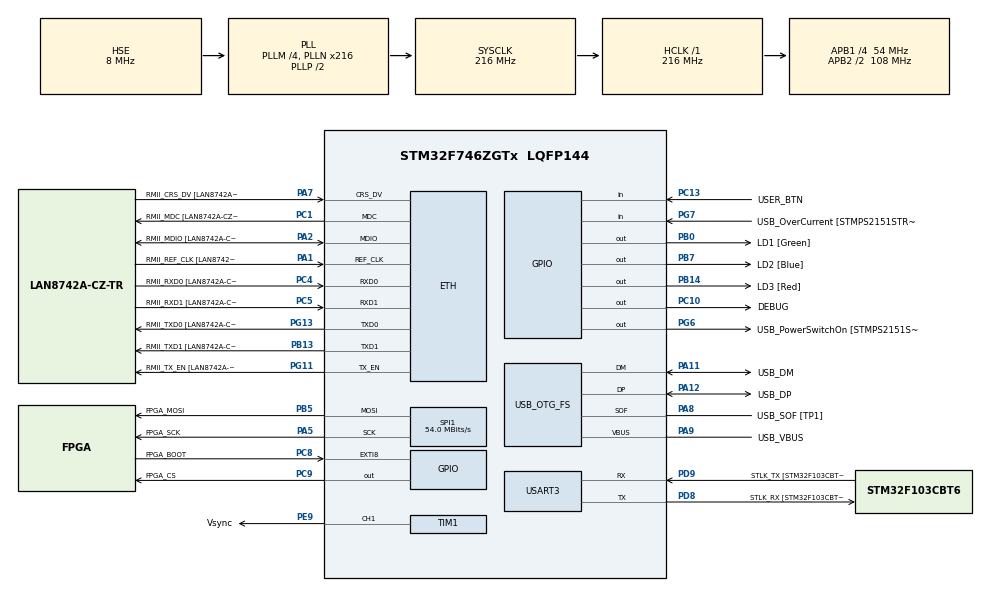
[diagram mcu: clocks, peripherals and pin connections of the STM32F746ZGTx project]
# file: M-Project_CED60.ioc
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CORTEX_M7.default_mode_Activation=0
Dma.Request0=USART3_TX
Dma.Request1=USART3_RX
Dma.Request2=SPI1_TX
Dma.SPI1_TX.2.Direction=DMA_MEMORY_TO_PERIPH
Dma.SPI1_TX.2.FIFOMode=DMA_FIFOMODE_DISABLE
Dma.SPI1_TX.2.Instance=DMA2_Stream3
Dma.SPI1_TX.2.MemDataAlignment=DMA_MDATAALIGN_HALFWORD
Dma.SPI1_TX.2.MemInc=DMA_MINC_ENABLE
Dma.SPI1_TX.2.Mode=DMA_NORMAL
Dma.SPI1_TX.2.PeriphDataAlignment=DMA_PDATAALIGN_HALFWORD
Dma.SPI1_TX.2.PeriphInc=DMA_PINC_DISABLE
Dma.SPI1_TX.2.Priority=DMA_PRIORITY_VERY_HIGH
Dma.USART3_RX.1.Direction=DMA_PERIPH_TO_MEMORY
Dma.USART3_RX.1.FIFOMode=DMA_FIFOMODE_DISABLE
Dma.USART3_RX.1.Instance=DMA1_Stream1
Dma.USART3_RX.1.MemDataAlignment=DMA_MDATAALIGN_BYTE
Dma.USART3_RX.1.MemInc=DMA_MINC_ENABLE
Dma.USART3_RX.1.Mode=DMA_NORMAL
Dma.USART3_RX.1.PeriphDataAlignment=DMA_PDATAALIGN_BYTE
Dma.USART3_RX.1.PeriphInc=DMA_PINC_DISABLE
Dma.USART3_RX.1.Priority=DMA_PRIORITY_LOW
Dma.USART3_TX.0.Direction=DMA_MEMORY_TO_PERIPH
Dma.USART3_TX.0.FIFOMode=DMA_FIFOMODE_DISABLE
Dma.USART3_TX.0.Instance=DMA1_Stream3
Dma.USART3_TX.0.MemDataAlignment=DMA_MDATAALIGN_BYTE
Dma.USART3_TX.0.MemInc=DMA_MINC_ENABLE
Dma.USART3_TX.0.Mode=DMA_NORMAL
Dma.USART3_TX.0.PeriphDataAlignment=DMA_PDATAALIGN_BYTE
Dma.USART3_TX.0.PeriphInc=DMA_PINC_DISABLE
Dma.USART3_TX.0.Priority=DMA_PRIORITY_LOW
ETH.MediaInterface=HAL_ETH_RMII_MODE
ETH.PHY_Name=LAN8742A_PHY_ADDRESS
ETH.PHY_Value=0
ETH.PhyAddress=0
Mcu.Family=STM32F7
Mcu.Name=STM32F746ZGTx
Mcu.Package=LQFP144
NVIC.DMA1_Stream1_IRQn=true\:0\:0\:false\:false\:true\:false\:true\:true
NVIC.DMA1_Stream3_IRQn=true\:0\:0\:false\:false\:true\:false\:true\:true
NVIC.DMA2_Stream3_IRQn=true\:1\:0\:true\:false\:true\:false\:true\:true
NVIC.EXTI9_5_IRQn=true\:0\:0\:false\:false\:true\:true\:true\:true
NVIC.PriorityGroup=NVIC_PRIORITYGROUP_4
NVIC.TIM1_UP_TIM10_IRQn=true\:1\:0\:true\:false\:true\:true\:true\:true
PA1.GPIO_Label=RMII_REF_CLK [LAN8742A-CZ-TR_REFCLK0]
PA1.Mode=RMII
PA1.Signal=ETH_REF_CLK
PA10.GPIO_Label=USB_ID
PA10.Signal=USB_OTG_FS_ID
PA11.GPIO_Label=USB_DM
PA11.Mode=Device_Only
PA11.Signal=USB_OTG_FS_DM
PA12.GPIO_Label=USB_DP
PA12.Mode=Device_Only
PA12.Signal=USB_OTG_FS_DP
PA13.GPIO_Label=TMS
PA13.Mode=Serial_Wire
PA13.Signal=SYS_JTMS-SWDIO
PA14.GPIO_Label=TCK
PA14.Mode=Serial_Wire
PA14.Signal=SYS_JTCK-SWCLK
PA2.GPIO_Label=RMII_MDIO [LAN8742A-CZ-TR_MDIO]
PA2.Mode=RMII
PA2.Signal=ETH_MDIO
PA5.GPIO_Label=FPGA_SCK
PA5.Mode=TX_Only_Simplex_Unidirect_Master
PA5.Signal=SPI1_SCK
PA7.GPIO_Label=RMII_CRS_DV [LAN8742A-CZ-TR_CRS_DV]
PA7.Mode=RMII
PA7.Signal=ETH_CRS_DV
PA8.GPIO_Label=USB_SOF [TP1]
PA8.Mode=Activate_SOF_FS
PA8.Signal=USB_OTG_FS_SOF
PA9.GPIO_Label=USB_VBUS
PA9.Mode=Activate_VBUS
PA9.Signal=USB_OTG_FS_VBUS
PB0.GPIO_Label=LD1 [Green]
PB0.Signal=GPIO_Output
PB13.GPIO_Label=RMII_TXD1 [LAN8742A-CZ-TR_TXD1]
PB13.Mode=RMII
PB13.Signal=ETH_TXD1
PB14.GPIO_Label=LD3 [Red]
PB14.Signal=GPIO_Output
PB3.GPIO_Label=SW0
PB3.Signal=SYS_JTDO-SWO
PB5.GPIO_Label=FPGA_MOSI
PB5.Mode=TX_Only_Simplex_Unidirect_Master
PB5.Signal=SPI1_MOSI
PB7.GPIO_Label=LD2 [Blue]
PB7.Signal=GPIO_Output
PC1.GPIO_Label=RMII_MDC [LAN8742A-CZ-TR_MDC]
PC1.Mode=RMII
PC1.Signal=ETH_MDC
PC10.GPIO_Label=DEBUG
PC10.Signal=GPIO_Output
PC13.GPIO_Label=USER_BTN
PC13.Signal=GPIO_Input
PC14/OSC32_IN.Mode=LSE-External-Oscillator
PC14/OSC32_IN.Signal=RCC_OSC32_IN
PC15/OSC32_OUT.Mode=LSE-External-Oscillator
PC15/OSC32_OUT.Signal=RCC_OSC32_OUT
PC4.GPIO_Label=RMII_RXD0 [LAN8742A-CZ-TR_RXD0]
PC4.Mode=RMII
PC4.Signal=ETH_RXD0
PC5.GPIO_Label=RMII_RXD1 [LAN8742A-CZ-TR_RXD1]
PC5.Mode=RMII
PC5.Signal=ETH_RXD1
PC8.GPIO_Label=FPGA_BOOT
PC8.GPIO_ModeDefaultEXTI=GPIO_MODE_IT_FALLING
PC8.GPIO_PuPd=GPIO_PULLUP
PC8.Signal=GPXTI8
PC9.GPIO_Label=FPGA_CS
PC9.Signal=GPIO_Output
PD8.GPIO_Label=STLK_RX [STM32F103CBT6_PA3]
PD8.GPIO_PuPd=GPIO_PULLUP
PD8.Mode=Asynchronous
PD8.Signal=USART3_TX
PD9.GPIO_Label=STLK_TX [STM32F103CBT6_PA2]
PD9.GPIO_PuPd=GPIO_PULLUP
PD9.Mode=Asynchronous
PD9.Signal=USART3_RX
PE9.GPIO_Label=Vsync
PE9.Signal=S_TIM1_CH1
PG11.GPIO_Label=RMII_TX_EN [LAN8742A-CZ-TR_TXEN]
PG11.Mode=RMII
PG11.Signal=ETH_TX_EN
PG13.GPIO_Label=RMII_TXD0 [LAN8742A-CZ-TR_TXD0]
PG13.Mode=RMII
PG13.Signal=ETH_TXD0
PG6.GPIO_Label=USB_PowerSwitchOn [STMPS2151STR_EN]
PG6.Signal=GPIO_Output
PG7.GPIO_Label=USB_OverCurrent [STMPS2151STR_FAULT]
PG7.Signal=GPIO_Input
PH0/OSC_IN.GPIO_Label=MCO [STM32F103CBT6_PA8]
PH0/OSC_IN.Mode=HSE-External-Oscillator
PH0/OSC_IN.Signal=RCC_OSC_IN
PH1/OSC_OUT.Mode=HSE-External-Oscillator
PH1/OSC_OUT.Signal=RCC_OSC_OUT
ProjectManager.HeapSize=0x200
ProjectManager.StackSize=0x400
ProjectManager.TargetToolchain=EWARM V8.50
RCC.48MHZClocksFreq_Value=24000000
RCC.AHBFreq_Value=216000000
RCC.APB1CLKDivider=RCC_HCLK_DIV4
RCC.APB1Freq_Value=54000000
RCC.APB1TimFreq_Value=108000000
RCC.APB2CLKDivider=RCC_HCLK_DIV2
RCC.APB2Freq_Value=108000000
RCC.APB2TimFreq_Value=216000000
RCC.CortexFreq_Value=216000000
RCC.HCLKFreq_Value=216000000
RCC.HSE_VALUE=8000000
RCC.HSI_VALUE=16000000
RCC.PLLM=4
RCC.PLLMUL=RCC_PLL_MUL9
RCC.PLLN=216
RCC.PLLQ=9
RCC.PRESCALERUSB=RCC_USBCLKSOURCE_PLL_DIV1_5
RCC.SYSCLKFreq_VALUE=216000000
RCC.SYSCLKSource=RCC_SYSCLKSOURCE_PLLCLK
RCC.SYSCLKSourceVirtual=RCC_SYSCLKSOURCE_PLLCLK
RCC.USBFreq_Value=48000000
RCC.VCOOutputFreq_Value=432000000
SH.S_TIM1_CH1.0=TIM1_CH1,PWM Generation1 CH1
SPI1.BaudRatePrescaler=SPI_BAUDRATEPRESCALER_2
SPI1.CalculateBaudRate=54.0 MBits/s
SPI1.DataSize=SPI_DATASIZE_16BIT
SPI1.Direction=SPI_DIRECTION_2LINES
SPI1.Mode=SPI_MODE_MASTER
SPI1.NSSPMode=SPI_NSS_PULSE_DISABLE
SPI1.VirtualType=VM_MASTER
TIM1.Channel-PWM\ Generation1\ CH1=TIM_CHANNEL_1
TIM1.Period=49999
TIM1.Prescaler=287
TIM1.Pulse-PWM\ Generation1\ CH1=199
USART3.VirtualMode-Asynchronous=VM_ASYNC
USB_OTG_FS.VirtualMode=Device_Only
VP_TIM1_VS_ClockSourceINT.Mode=Internal
board=NUCLEO-F746ZG

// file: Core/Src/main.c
/* USER CODE BEGIN Header */
/**
  ******************************************************************************
  * @file           : main.c
  * @brief          : Main program body
  ******************************************************************************
  * @attention
  *
  * Copyright (c) 2025 STMicroelectronics.
  * All rights reserved.
  *
  * This software is licensed under terms that can be found in the LICENSE file
  * in the root directory of this software component.
  * If no LICENSE file comes with this software, it is provided AS-IS.
  *
  ******************************************************************************
  */
/* USER CODE END Header */
#include "main.h"
#include "string.h"

/* USER CODE BEGIN Includes */
#include "comm_debug.h"
#include "tlc59581.h"
/* USER CODE END Includes */

/* USER CODE BEGIN PTD */

typedef struct _tag_btn_state_
{
    uint32_t previous_btn_state;
    uint32_t current_btn_state;
    uint16_t btn_pressed_ms_count;
    bool long_press_action_done;
}_btn_state_;

/* USER CODE END PTD */

/* USER CODE BEGIN PD */

#define FLASH_USER_START_ADDR   0x080C0000
#define FLASH_SECTOR_NUM        FLASH_SECTOR_7

#define BTN_PROCESS_1ms         1

#define BTN_PRESSED             1
#define BTN_RELEASED            0
#define BTN_SHORT_PRESS_TIME    1500

/* USER CODE END PD */

#if defined ( __ICCARM__ ) /*!< IAR Compiler */
#pragma location=0x2004c000
ETH_DMADescTypeDef  DMARxDscrTab[ETH_RX_DESC_CNT]; /* Ethernet Rx DMA Descriptors */
#pragma location=0x2004c0a0
ETH_DMADescTypeDef  DMATxDscrTab[ETH_TX_DESC_CNT]; /* Ethernet Tx DMA Descriptors */

#elif defined ( __CC_ARM )  /* MDK ARM Compiler */

__attribute__((at(0x2004c000))) ETH_DMADescTypeDef  DMARxDscrTab[ETH_RX_DESC_CNT]; /* Ethernet Rx DMA Descriptors */
__attribute__((at(0x2004c0a0))) ETH_DMADescTypeDef  DMATxDscrTab[ETH_TX_DESC_CNT]; /* Ethernet Tx DMA Descriptors */

#elif defined ( __GNUC__ ) /* GNU Compiler */

ETH_DMADescTypeDef DMARxDscrTab[ETH_RX_DESC_CNT] __attribute__((section(".RxDecripSection"))); /* Ethernet Rx DMA Descriptors */
ETH_DMADescTypeDef DMATxDscrTab[ETH_TX_DESC_CNT] __attribute__((section(".TxDecripSection")));   /* Ethernet Tx DMA Descriptors */
#endif

ETH_TxPacketConfig TxConfig;

ETH_HandleTypeDef heth;

PCD_HandleTypeDef hpcd_USB_OTG_FS;

/* USER CODE BEGIN PV */

volatile bool gb_fpga_boot_done;
uint8_t gn_btn_process_systick;
static _btn_state_ gt_btn_state;

/* USER CODE END PV */

void SystemClock_Config(void);
static void MX_GPIO_Init(void);
static void MX_DMA_Init(void);
static void MX_ETH_Init(void);
static void MX_USART3_UART_Init(void);
static void MX_USB_OTG_FS_PCD_Init(void);
static void MX_TIM1_Init(void);
static void MX_SPI1_Init(void);
/* USER CODE BEGIN PFP */

static void Flash_Write(uint32_t addr, uint32_t data);
static uint32_t Flash_Read(uint32_t address);
static void Flash_Erase_Sector(uint32_t sector);
static void btn_process();

/* USER CODE END PFP */

/* USER CODE BEGIN 0 */

void Flash_Write(uint32_t addr, uint32_t data)
{
    HAL_FLASH_Unlock();

    HAL_FLASH_Program(FLASH_TYPEPROGRAM_WORD, addr, data);

    HAL_FLASH_Lock();
}

uint32_t Flash_Read(uint32_t address)
{
    return *(uint32_t*)address;  // Flash 메모리에서 데이터 읽기
}

void Flash_Erase_Sector(uint32_t sector)
{
    FLASH_EraseInitTypeDef EraseInitStruct;
    uint32_t SectorError;

    HAL_FLASH_Unlock();  // Flash Unlock

    // Flash 섹터 삭제 설정
    EraseInitStruct.TypeErase = FLASH_TYPEERASE_SECTORS;
    EraseInitStruct.VoltageRange = FLASH_VOLTAGE_RANGE_3;  // 2.7V ~ 3.6V
    EraseInitStruct.Sector = sector;
    EraseInitStruct.NbSectors = 1;

    HAL_FLASHEx_Erase(&EraseInitStruct, &SectorError);  // 섹터 삭제 실행

    HAL_FLASH_Lock();  // Flash Lock
}

void btn_process()
{
    if (gn_btn_process_systick == 0)
    {
        gt_btn_state.current_btn_state = LL_GPIO_IsInputPinSet(USER_BTN_GPIO_Port, USER_BTN_Pin);

        if (gt_btn_state.current_btn_state != gt_btn_state.previous_btn_state)
        {
            if (gt_btn_state.current_btn_state == BTN_PRESSED)
            {
                ++gt_btn_state.btn_pressed_ms_count;
            }
            else //if (gt_btn_state.current_btn_state == BTN_RELEASED)
            {
                if (gt_btn_state.btn_pressed_ms_count < BTN_SHORT_PRESS_TIME)
                {
                    if (gt_btn_state.long_press_action_done != true)
                    {
                        print("short action\r\n");
                    }
                }
                gt_btn_state.long_press_action_done = false;
                gt_btn_state.btn_pressed_ms_count = 0;
            }
            gt_btn_state.previous_btn_state = gt_btn_state.current_btn_state;
        }
        else
        {
            if (gt_btn_state.current_btn_state == BTN_PRESSED)
            {
                ++gt_btn_state.btn_pressed_ms_count;
                if (gt_btn_state.btn_pressed_ms_count > BTN_SHORT_PRESS_TIME)
                {
                    print("long action %u\r\n", HAL_GetTick());
                    gt_btn_state.btn_pressed_ms_count = 0;
                    gt_btn_state.long_press_action_done = true;
                }
            }
            else //if (gt_btn_state.current_btn_state == BTN_RELEASED)
            {

            }
        }
        gn_btn_process_systick = BTN_PROCESS_1ms;
    }
}

/* USER CODE END 0 */

int main(void)
{

  /* USER CODE BEGIN 1 */
    //__disable_irq();
  /* USER CODE END 1 */

  /* MCU Configuration--------------------------------------------------------*/

  /* Reset of all peripherals, Initializes the Flash interface and the Systick. */
  HAL_Init();

  /* Configure the system clock */
  SystemClock_Config();

  /* Initialize all configured peripherals */
  MX_GPIO_Init();
  MX_DMA_Init();
  MX_ETH_Init();
  MX_USART3_UART_Init();
  MX_USB_OTG_FS_PCD_Init();
  MX_TIM1_Init();
  MX_SPI1_Init();
  /* USER CODE BEGIN 2 */
    //__enable_irq();
    comm_init();

    print("FPGA Booting...\r\n");
    while(!gb_fpga_boot_done) {}
    print("FPGA Boot Done!!\r\n");

    tlc59581_init();

#if 0
    uint32_t temp_data = 0x56789012;
    uint32_t temp_read_data = 0;

    temp_read_data = Flash_Read(FLASH_USER_START_ADDR);
    print("read : 0x%08lX\r\n", temp_read_data);

    // Flash 섹터 삭제 (기존 데이터 삭제)
    Flash_Erase_Sector(FLASH_SECTOR_NUM);

    // Flash에 값 저장
    Flash_Write(FLASH_USER_START_ADDR, temp_data);

    // Flash에서 값 읽기
    temp_read_data = Flash_Read(FLASH_USER_START_ADDR);
    print("read : 0x%08lX\r\n", temp_read_data);
#endif

  /* USER CODE END 2 */

  /* Infinite loop */
  while (1)
  {

    /* USER CODE BEGIN 3 */
    tlc59581_process();
    comm_debugging_process();
    btn_process();
  }
  /* USER CODE END 3 */
}

void SystemClock_Config(void)
{
  RCC_OscInitTypeDef RCC_OscInitStruct = {0};
  RCC_ClkInitTypeDef RCC_ClkInitStruct = {0};

  /** Configure LSE Drive Capability
  */
  HAL_PWR_EnableBkUpAccess();

  /** Configure the main internal regulator output voltage
  */
  __HAL_RCC_PWR_CLK_ENABLE();
  __HAL_PWR_VOLTAGESCALING_CONFIG(PWR_REGULATOR_VOLTAGE_SCALE1);

  /** Initializes the RCC Oscillators according to the specified parameters
  * in the RCC_OscInitTypeDef structure.
  */
  RCC_OscInitStruct.OscillatorType = RCC_OSCILLATORTYPE_HSE;
  RCC_OscInitStruct.HSEState = RCC_HSE_ON;
  RCC_OscInitStruct.PLL.PLLState = RCC_PLL_ON;
  RCC_OscInitStruct.PLL.PLLSource = RCC_PLLSOURCE_HSE;
  RCC_OscInitStruct.PLL.PLLM = 4;
  RCC_OscInitStruct.PLL.PLLN = 216;
  RCC_OscInitStruct.PLL.PLLP = RCC_PLLP_DIV2;
  RCC_OscInitStruct.PLL.PLLQ = 9;
  if (HAL_RCC_OscConfig(&RCC_OscInitStruct) != HAL_OK)
  {
    Error_Handler();
  }

  /** Activate the Over-Drive mode
  */
  if (HAL_PWREx_EnableOverDrive() != HAL_OK)
  {
    Error_Handler();
  }

  /** Initializes the CPU, AHB and APB buses clocks
  */
  RCC_ClkInitStruct.ClockType = RCC_CLOCKTYPE_HCLK|RCC_CLOCKTYPE_SYSCLK
                              |RCC_CLOCKTYPE_PCLK1|RCC_CLOCKTYPE_PCLK2;
  RCC_ClkInitStruct.SYSCLKSource = RCC_SYSCLKSOURCE_PLLCLK;
  RCC_ClkInitStruct.AHBCLKDivider = RCC_SYSCLK_DIV1;
  RCC_ClkInitStruct.APB1CLKDivider = RCC_HCLK_DIV4;
  RCC_ClkInitStruct.APB2CLKDivider = RCC_HCLK_DIV2;

  if (HAL_RCC_ClockConfig(&RCC_ClkInitStruct, FLASH_LATENCY_7) != HAL_OK)
  {
    Error_Handler();
  }
}

static void MX_ETH_Init(void)
{

   static uint8_t MACAddr[6];

  heth.Instance = ETH;
  MACAddr[0] = 0x00;
  MACAddr[1] = 0x80;
  MACAddr[2] = 0xE1;
  MACAddr[3] = 0x00;
  MACAddr[4] = 0x00;
  MACAddr[5] = 0x00;
  heth.Init.MACAddr = &MACAddr[0];
  heth.Init.MediaInterface = HAL_ETH_RMII_MODE;
  heth.Init.TxDesc = DMATxDscrTab;
  heth.Init.RxDesc = DMARxDscrTab;
  heth.Init.RxBuffLen = 1524;

  if (HAL_ETH_Init(&heth) != HAL_OK)
  {
    Error_Handler();
  }

  memset(&TxConfig, 0 , sizeof(ETH_TxPacketConfig));
  TxConfig.Attributes = ETH_TX_PACKETS_FEATURES_CSUM | ETH_TX_PACKETS_FEATURES_CRCPAD;
  TxConfig.ChecksumCtrl = ETH_CHECKSUM_IPHDR_PAYLOAD_INSERT_PHDR_CALC;
  TxConfig.CRCPadCtrl = ETH_CRC_PAD_INSERT;

}

static void MX_SPI1_Init(void)
{

  LL_SPI_InitTypeDef SPI_InitStruct = {0};

  LL_GPIO_InitTypeDef GPIO_InitStruct = {0};

  /* Peripheral clock enable */
  LL_APB2_GRP1_EnableClock(LL_APB2_GRP1_PERIPH_SPI1);

  LL_AHB1_GRP1_EnableClock(LL_AHB1_GRP1_PERIPH_GPIOA);
  LL_AHB1_GRP1_EnableClock(LL_AHB1_GRP1_PERIPH_GPIOB);
  /**SPI1 GPIO Configuration
  PA5   ------> SPI1_SCK
  PB5   ------> SPI1_MOSI
  */
  GPIO_InitStruct.Pin = FPGA_SCK_Pin;
  GPIO_InitStruct.Mode = LL_GPIO_MODE_ALTERNATE;
  GPIO_InitStruct.Speed = LL_GPIO_SPEED_FREQ_VERY_HIGH;
  GPIO_InitStruct.OutputType = LL_GPIO_OUTPUT_PUSHPULL;
  GPIO_InitStruct.Pull = LL_GPIO_PULL_NO;
  GPIO_InitStruct.Alternate = LL_GPIO_AF_5;
  LL_GPIO_Init(FPGA_SCK_GPIO_Port, &GPIO_InitStruct);

  GPIO_InitStruct.Pin = FPGA_MOSI_Pin;
  GPIO_InitStruct.Mode = LL_GPIO_MODE_ALTERNATE;
  GPIO_InitStruct.Speed = LL_GPIO_SPEED_FREQ_VERY_HIGH;
  GPIO_InitStruct.OutputType = LL_GPIO_OUTPUT_PUSHPULL;
  GPIO_InitStruct.Pull = LL_GPIO_PULL_NO;
  GPIO_InitStruct.Alternate = LL_GPIO_AF_5;
  LL_GPIO_Init(FPGA_MOSI_GPIO_Port, &GPIO_InitStruct);

  /* SPI1 DMA Init */

  /* SPI1_TX Init */
  LL_DMA_SetChannelSelection(DMA2, LL_DMA_STREAM_3, LL_DMA_CHANNEL_3);

  LL_DMA_SetDataTransferDirection(DMA2, LL_DMA_STREAM_3, LL_DMA_DIRECTION_MEMORY_TO_PERIPH);

  LL_DMA_SetStreamPriorityLevel(DMA2, LL_DMA_STREAM_3, LL_DMA_PRIORITY_VERYHIGH);

  LL_DMA_SetMode(DMA2, LL_DMA_STREAM_3, LL_DMA_MODE_NORMAL);

  LL_DMA_SetPeriphIncMode(DMA2, LL_DMA_STREAM_3, LL_DMA_PERIPH_NOINCREMENT);

  LL_DMA_SetMemoryIncMode(DMA2, LL_DMA_STREAM_3, LL_DMA_MEMORY_INCREMENT);

  LL_DMA_SetPeriphSize(DMA2, LL_DMA_STREAM_3, LL_DMA_PDATAALIGN_HALFWORD);

  LL_DMA_SetMemorySize(DMA2, LL_DMA_STREAM_3, LL_DMA_MDATAALIGN_HALFWORD);

  LL_DMA_DisableFifoMode(DMA2, LL_DMA_STREAM_3);

  /* SPI1 parameter configuration*/
  SPI_InitStruct.TransferDirection = LL_SPI_FULL_DUPLEX;
  SPI_InitStruct.Mode = LL_SPI_MODE_MASTER;
  SPI_InitStruct.DataWidth = LL_SPI_DATAWIDTH_16BIT;
  SPI_InitStruct.ClockPolarity = LL_SPI_POLARITY_LOW;
  SPI_InitStruct.ClockPhase = LL_SPI_PHASE_1EDGE;
  SPI_InitStruct.NSS = LL_SPI_NSS_SOFT;
  SPI_InitStruct.BaudRate = LL_SPI_BAUDRATEPRESCALER_DIV2;
  SPI_InitStruct.BitOrder = LL_SPI_MSB_FIRST;
  SPI_InitStruct.CRCCalculation = LL_SPI_CRCCALCULATION_DISABLE;
  SPI_InitStruct.CRCPoly = 7;
  LL_SPI_Init(SPI1, &SPI_InitStruct);
  LL_SPI_SetStandard(SPI1, LL_SPI_PROTOCOL_MOTOROLA);
  LL_SPI_DisableNSSPulseMgt(SPI1);
  /* USER CODE BEGIN SPI1_Init 2 */

    LL_SPI_Enable(SPI1);
    LL_SPI_EnableDMAReq_TX(SPI1);

    LL_DMA_SetPeriphAddress(DMA2, LL_DMA_STREAM_3, (uint32_t)(&(SPI1->DR)));

    LL_DMA_ClearFlag_TC3(DMA2);
    LL_DMA_EnableIT_TC(DMA2, LL_DMA_STREAM_3);

    LL_DMA_ClearFlag_TE3(DMA2);
    LL_DMA_EnableIT_TE(DMA2, LL_DMA_STREAM_3);
  /* USER CODE END SPI1_Init 2 */

}

static void MX_TIM1_Init(void)
{

  LL_TIM_InitTypeDef TIM_InitStruct = {0};
  LL_TIM_OC_InitTypeDef TIM_OC_InitStruct = {0};
  LL_TIM_BDTR_InitTypeDef TIM_BDTRInitStruct = {0};

  LL_GPIO_InitTypeDef GPIO_InitStruct = {0};

  /* Peripheral clock enable */
  LL_APB2_GRP1_EnableClock(LL_APB2_GRP1_PERIPH_TIM1);

  /* TIM1 interrupt Init */
  NVIC_SetPriority(TIM1_UP_TIM10_IRQn, NVIC_EncodePriority(NVIC_GetPriorityGrouping(),1, 0));
  NVIC_EnableIRQ(TIM1_UP_TIM10_IRQn);

  TIM_InitStruct.Prescaler = 287;
  TIM_InitStruct.CounterMode = LL_TIM_COUNTERMODE_UP;
  TIM_InitStruct.Autoreload = 49999;
  TIM_InitStruct.ClockDivision = LL_TIM_CLOCKDIVISION_DIV1;
  TIM_InitStruct.RepetitionCounter = 0;
  LL_TIM_Init(TIM1, &TIM_InitStruct);
  LL_TIM_DisableARRPreload(TIM1);
  LL_TIM_SetClockSource(TIM1, LL_TIM_CLOCKSOURCE_INTERNAL);
  LL_TIM_OC_EnablePreload(TIM1, LL_TIM_CHANNEL_CH1);
  TIM_OC_InitStruct.OCMode = LL_TIM_OCMODE_PWM1;
  TIM_OC_InitStruct.OCState = LL_TIM_OCSTATE_DISABLE;
  TIM_OC_InitStruct.OCNState = LL_TIM_OCSTATE_DISABLE;
  TIM_OC_InitStruct.CompareValue = 199;
  TIM_OC_InitStruct.OCPolarity = LL_TIM_OCPOLARITY_HIGH;
  TIM_OC_InitStruct.OCNPolarity = LL_TIM_OCPOLARITY_HIGH;
  TIM_OC_InitStruct.OCIdleState = LL_TIM_OCIDLESTATE_LOW;
  TIM_OC_InitStruct.OCNIdleState = LL_TIM_OCIDLESTATE_LOW;
  LL_TIM_OC_Init(TIM1, LL_TIM_CHANNEL_CH1, &TIM_OC_InitStruct);
  LL_TIM_OC_DisableFast(TIM1, LL_TIM_CHANNEL_CH1);
  LL_TIM_SetTriggerOutput(TIM1, LL_TIM_TRGO_RESET);
  LL_TIM_SetTriggerOutput2(TIM1, LL_TIM_TRGO2_RESET);
  LL_TIM_DisableMasterSlaveMode(TIM1);
  TIM_BDTRInitStruct.OSSRState = LL_TIM_OSSR_DISABLE;
  TIM_BDTRInitStruct.OSSIState = LL_TIM_OSSI_DISABLE;
  TIM_BDTRInitStruct.LockLevel = LL_TIM_LOCKLEVEL_OFF;
  TIM_BDTRInitStruct.DeadTime = 0;
  TIM_BDTRInitStruct.BreakState = LL_TIM_BREAK_DISABLE;
  TIM_BDTRInitStruct.BreakPolarity = LL_TIM_BREAK_POLARITY_HIGH;
  TIM_BDTRInitStruct.BreakFilter = LL_TIM_BREAK_FILTER_FDIV1;
  TIM_BDTRInitStruct.Break2State = LL_TIM_BREAK2_DISABLE;
  TIM_BDTRInitStruct.Break2Polarity = LL_TIM_BREAK2_POLARITY_HIGH;
  TIM_BDTRInitStruct.Break2Filter = LL_TIM_BREAK2_FILTER_FDIV1;
  TIM_BDTRInitStruct.AutomaticOutput = LL_TIM_AUTOMATICOUTPUT_DISABLE;
  LL_TIM_BDTR_Init(TIM1, &TIM_BDTRInitStruct);
  /* USER CODE BEGIN TIM1_Init 2 */

    LL_TIM_ClearFlag_CC1(TIM1);
    LL_TIM_ClearFlag_CC2(TIM1);
    LL_TIM_ClearFlag_CC3(TIM1);
    LL_TIM_ClearFlag_CC4(TIM1);
    LL_TIM_ClearFlag_UPDATE(TIM1);

    LL_TIM_EnableIT_UPDATE(TIM1);
    LL_TIM_EnableAllOutputs(TIM1);
    LL_TIM_CC_EnableChannel(TIM1, LL_TIM_CHANNEL_CH1);
  /* USER CODE END TIM1_Init 2 */
  LL_AHB1_GRP1_EnableClock(LL_AHB1_GRP1_PERIPH_GPIOE);
  /**TIM1 GPIO Configuration
  PE9   ------> TIM1_CH1
  */
  GPIO_InitStruct.Pin = Vsync_Pin;
  GPIO_InitStruct.Mode = LL_GPIO_MODE_ALTERNATE;
  GPIO_InitStruct.Speed = LL_GPIO_SPEED_FREQ_LOW;
  GPIO_InitStruct.OutputType = LL_GPIO_OUTPUT_PUSHPULL;
  GPIO_InitStruct.Pull = LL_GPIO_PULL_NO;
  GPIO_InitStruct.Alternate = LL_GPIO_AF_1;
  LL_GPIO_Init(Vsync_GPIO_Port, &GPIO_InitStruct);

}

static void MX_USART3_UART_Init(void)
{

  LL_USART_InitTypeDef USART_InitStruct = {0};

  LL_GPIO_InitTypeDef GPIO_InitStruct = {0};
  RCC_PeriphCLKInitTypeDef PeriphClkInitStruct = {0};

  /** Initializes the peripherals clock
  */
  PeriphClkInitStruct.PeriphClockSelection = RCC_PERIPHCLK_USART3;
  PeriphClkInitStruct.Usart3ClockSelection = RCC_USART3CLKSOURCE_PCLK1;
  if (HAL_RCCEx_PeriphCLKConfig(&PeriphClkInitStruct) != HAL_OK)
  {
    Error_Handler();
  }

  /* Peripheral clock enable */
  LL_APB1_GRP1_EnableClock(LL_APB1_GRP1_PERIPH_USART3);

  LL_AHB1_GRP1_EnableClock(LL_AHB1_GRP1_PERIPH_GPIOD);
  /**USART3 GPIO Configuration
  PD8   ------> USART3_TX
  PD9   ------> USART3_RX
  */
  GPIO_InitStruct.Pin = STLK_RX_Pin;
  GPIO_InitStruct.Mode = LL_GPIO_MODE_ALTERNATE;
  GPIO_InitStruct.Speed = LL_GPIO_SPEED_FREQ_VERY_HIGH;
  GPIO_InitStruct.OutputType = LL_GPIO_OUTPUT_PUSHPULL;
  GPIO_InitStruct.Pull = LL_GPIO_PULL_UP;
  GPIO_InitStruct.Alternate = LL_GPIO_AF_7;
  LL_GPIO_Init(STLK_RX_GPIO_Port, &GPIO_InitStruct);

  GPIO_InitStruct.Pin = STLK_TX_Pin;
  GPIO_InitStruct.Mode = LL_GPIO_MODE_ALTERNATE;
  GPIO_InitStruct.Speed = LL_GPIO_SPEED_FREQ_VERY_HIGH;
  GPIO_InitStruct.OutputType = LL_GPIO_OUTPUT_PUSHPULL;
  GPIO_InitStruct.Pull = LL_GPIO_PULL_UP;
  GPIO_InitStruct.Alternate = LL_GPIO_AF_7;
  LL_GPIO_Init(STLK_TX_GPIO_Port, &GPIO_InitStruct);

  /* USART3 DMA Init */

  /* USART3_TX Init */
  LL_DMA_SetChannelSelection(DMA1, LL_DMA_STREAM_3, LL_DMA_CHANNEL_4);

  LL_DMA_SetDataTransferDirection(DMA1, LL_DMA_STREAM_3, LL_DMA_DIRECTION_MEMORY_TO_PERIPH);

  LL_DMA_SetStreamPriorityLevel(DMA1, LL_DMA_STREAM_3, LL_DMA_PRIORITY_LOW);

  LL_DMA_SetMode(DMA1, LL_DMA_STREAM_3, LL_DMA_MODE_NORMAL);

  LL_DMA_SetPeriphIncMode(DMA1, LL_DMA_STREAM_3, LL_DMA_PERIPH_NOINCREMENT);

  LL_DMA_SetMemoryIncMode(DMA1, LL_DMA_STREAM_3, LL_DMA_MEMORY_INCREMENT);

  LL_DMA_SetPeriphSize(DMA1, LL_DMA_STREAM_3, LL_DMA_PDATAALIGN_BYTE);

  LL_DMA_SetMemorySize(DMA1, LL_DMA_STREAM_3, LL_DMA_MDATAALIGN_BYTE);

  LL_DMA_DisableFifoMode(DMA1, LL_DMA_STREAM_3);

  /* USART3_RX Init */
  LL_DMA_SetChannelSelection(DMA1, LL_DMA_STREAM_1, LL_DMA_CHANNEL_4);

  LL_DMA_SetDataTransferDirection(DMA1, LL_DMA_STREAM_1, LL_DMA_DIRECTION_PERIPH_TO_MEMORY);

  LL_DMA_SetStreamPriorityLevel(DMA1, LL_DMA_STREAM_1, LL_DMA_PRIORITY_LOW);

  LL_DMA_SetMode(DMA1, LL_DMA_STREAM_1, LL_DMA_MODE_NORMAL);

  LL_DMA_SetPeriphIncMode(DMA1, LL_DMA_STREAM_1, LL_DMA_PERIPH_NOINCREMENT);

  LL_DMA_SetMemoryIncMode(DMA1, LL_DMA_STREAM_1, LL_DMA_MEMORY_INCREMENT);

  LL_DMA_SetPeriphSize(DMA1, LL_DMA_STREAM_1, LL_DMA_PDATAALIGN_BYTE);

  LL_DMA_SetMemorySize(DMA1, LL_DMA_STREAM_1, LL_DMA_MDATAALIGN_BYTE);

  LL_DMA_DisableFifoMode(DMA1, LL_DMA_STREAM_1);

  USART_InitStruct.BaudRate = 115200;
  USART_InitStruct.DataWidth = LL_USART_DATAWIDTH_8B;
  USART_InitStruct.StopBits = LL_USART_STOPBITS_1;
  USART_InitStruct.Parity = LL_USART_PARITY_NONE;
  USART_InitStruct.TransferDirection = LL_USART_DIRECTION_TX_RX;
  USART_InitStruct.HardwareFlowControl = LL_USART_HWCONTROL_NONE;
  USART_InitStruct.OverSampling = LL_USART_OVERSAMPLING_16;
  LL_USART_Init(USART3, &USART_InitStruct);
  LL_USART_ConfigAsyncMode(USART3);
  LL_USART_Enable(USART3);
  /* USER CODE BEGIN USART3_Init 2 */
    /* USART TX */
    LL_USART_EnableDMAReq_TX(USART3);
    //LL_DMA_SetMemoryAddress(DMA1, LL_DMA_STREAM_3, (uint32_t)gn_tx_buff);
    LL_DMA_SetPeriphAddress(DMA1, LL_DMA_STREAM_3, (uint32_t)(&(USART3->TDR)));

    LL_DMA_ClearFlag_TC3(DMA1);
    LL_DMA_EnableIT_TC(DMA1, LL_DMA_STREAM_3);
    //LL_DMA_EnableStream(DMA1, LL_DMA_STREAM_3);

    /* USART RX */
    LL_USART_EnableDMAReq_RX(USART3);
    LL_DMA_SetMemoryAddress(DMA1, LL_DMA_STREAM_1, (uint32_t)(&gn_rx_temp));
    LL_DMA_SetPeriphAddress(DMA1, LL_DMA_STREAM_1, (uint32_t)(&(USART3->RDR)));

    LL_DMA_ClearFlag_TC1(DMA1);
    LL_DMA_EnableIT_TC(DMA1, LL_DMA_STREAM_1);

    LL_DMA_ClearFlag_TE1(DMA1);
    LL_DMA_EnableIT_TE(DMA1, LL_DMA_STREAM_1);

    LL_DMA_SetDataLength(DMA1, LL_DMA_STREAM_1, 1);
    LL_DMA_EnableStream(DMA1, LL_DMA_STREAM_1);

    LL_USART_EnableIT_TC(USART3);
    LL_USART_Enable(USART3);
  /* USER CODE END USART3_Init 2 */

}

static void MX_USB_OTG_FS_PCD_Init(void)
{

  hpcd_USB_OTG_FS.Instance = USB_OTG_FS;
  hpcd_USB_OTG_FS.Init.dev_endpoints = 6;
  hpcd_USB_OTG_FS.Init.speed = PCD_SPEED_FULL;
  hpcd_USB_OTG_FS.Init.dma_enable = DISABLE;
  hpcd_USB_OTG_FS.Init.phy_itface = PCD_PHY_EMBEDDED;
  hpcd_USB_OTG_FS.Init.Sof_enable = ENABLE;
  hpcd_USB_OTG_FS.Init.low_power_enable = DISABLE;
  hpcd_USB_OTG_FS.Init.lpm_enable = DISABLE;
  hpcd_USB_OTG_FS.Init.vbus_sensing_enable = ENABLE;
  hpcd_USB_OTG_FS.Init.use_dedicated_ep1 = DISABLE;
  if (HAL_PCD_Init(&hpcd_USB_OTG_FS) != HAL_OK)
  {
    Error_Handler();
  }

}

static void MX_DMA_Init(void)
{

  /* Init with LL driver */
  /* DMA controller clock enable */
  LL_AHB1_GRP1_EnableClock(LL_AHB1_GRP1_PERIPH_DMA1);
  LL_AHB1_GRP1_EnableClock(LL_AHB1_GRP1_PERIPH_DMA2);

  /* DMA interrupt init */
  /* DMA1_Stream1_IRQn interrupt configuration */
  NVIC_SetPriority(DMA1_Stream1_IRQn, NVIC_EncodePriority(NVIC_GetPriorityGrouping(),0, 0));
  NVIC_EnableIRQ(DMA1_Stream1_IRQn);
  /* DMA1_Stream3_IRQn interrupt configuration */
  NVIC_SetPriority(DMA1_Stream3_IRQn, NVIC_EncodePriority(NVIC_GetPriorityGrouping(),0, 0));
  NVIC_EnableIRQ(DMA1_Stream3_IRQn);
  /* DMA2_Stream3_IRQn interrupt configuration */
  NVIC_SetPriority(DMA2_Stream3_IRQn, NVIC_EncodePriority(NVIC_GetPriorityGrouping(),1, 0));
  NVIC_EnableIRQ(DMA2_Stream3_IRQn);

}

static void MX_GPIO_Init(void)
{
  LL_EXTI_InitTypeDef EXTI_InitStruct = {0};
  LL_GPIO_InitTypeDef GPIO_InitStruct = {0};

  /* GPIO Ports Clock Enable */
  LL_AHB1_GRP1_EnableClock(LL_AHB1_GRP1_PERIPH_GPIOC);
  LL_AHB1_GRP1_EnableClock(LL_AHB1_GRP1_PERIPH_GPIOH);
  LL_AHB1_GRP1_EnableClock(LL_AHB1_GRP1_PERIPH_GPIOA);
  LL_AHB1_GRP1_EnableClock(LL_AHB1_GRP1_PERIPH_GPIOB);
  LL_AHB1_GRP1_EnableClock(LL_AHB1_GRP1_PERIPH_GPIOE);
  LL_AHB1_GRP1_EnableClock(LL_AHB1_GRP1_PERIPH_GPIOD);
  LL_AHB1_GRP1_EnableClock(LL_AHB1_GRP1_PERIPH_GPIOG);

  /**/
  LL_GPIO_ResetOutputPin(LD1_GPIO_Port, LD1_Pin);

  /**/
  LL_GPIO_ResetOutputPin(LD3_GPIO_Port, LD3_Pin);

  /**/
  LL_GPIO_ResetOutputPin(USB_PowerSwitchOn_GPIO_Port, USB_PowerSwitchOn_Pin);

  /**/
  LL_GPIO_ResetOutputPin(FPGA_CS_GPIO_Port, FPGA_CS_Pin);

  /**/
  LL_GPIO_ResetOutputPin(DEBUG_GPIO_Port, DEBUG_Pin);

  /**/
  LL_GPIO_ResetOutputPin(LD2_GPIO_Port, LD2_Pin);

  /**/
  GPIO_InitStruct.Pin = USER_BTN_Pin;
  GPIO_InitStruct.Mode = LL_GPIO_MODE_INPUT;
  GPIO_InitStruct.Pull = LL_GPIO_PULL_NO;
  LL_GPIO_Init(USER_BTN_GPIO_Port, &GPIO_InitStruct);

  /**/
  GPIO_InitStruct.Pin = LD1_Pin;
  GPIO_InitStruct.Mode = LL_GPIO_MODE_OUTPUT;
  GPIO_InitStruct.Speed = LL_GPIO_SPEED_FREQ_LOW;
  GPIO_InitStruct.OutputType = LL_GPIO_OUTPUT_PUSHPULL;
  GPIO_InitStruct.Pull = LL_GPIO_PULL_NO;
  LL_GPIO_Init(LD1_GPIO_Port, &GPIO_InitStruct);

  /**/
  GPIO_InitStruct.Pin = LD3_Pin;
  GPIO_InitStruct.Mode = LL_GPIO_MODE_OUTPUT;
  GPIO_InitStruct.Speed = LL_GPIO_SPEED_FREQ_LOW;
  GPIO_InitStruct.OutputType = LL_GPIO_OUTPUT_PUSHPULL;
  GPIO_InitStruct.Pull = LL_GPIO_PULL_NO;
  LL_GPIO_Init(LD3_GPIO_Port, &GPIO_InitStruct);

  /**/
  GPIO_InitStruct.Pin = USB_PowerSwitchOn_Pin;
  GPIO_InitStruct.Mode = LL_GPIO_MODE_OUTPUT;
  GPIO_InitStruct.Speed = LL_GPIO_SPEED_FREQ_LOW;
  GPIO_InitStruct.OutputType = LL_GPIO_OUTPUT_PUSHPULL;
  GPIO_InitStruct.Pull = LL_GPIO_PULL_NO;
  LL_GPIO_Init(USB_PowerSwitchOn_GPIO_Port, &GPIO_InitStruct);

  /**/
  GPIO_InitStruct.Pin = USB_OverCurrent_Pin;
  GPIO_InitStruct.Mode = LL_GPIO_MODE_INPUT;
  GPIO_InitStruct.Pull = LL_GPIO_PULL_NO;
  LL_GPIO_Init(USB_OverCurrent_GPIO_Port, &GPIO_InitStruct);

  /**/
  GPIO_InitStruct.Pin = FPGA_CS_Pin;
  GPIO_InitStruct.Mode = LL_GPIO_MODE_OUTPUT;
  GPIO_InitStruct.Speed = LL_GPIO_SPEED_FREQ_LOW;
  GPIO_InitStruct.OutputType = LL_GPIO_OUTPUT_PUSHPULL;
  GPIO_InitStruct.Pull = LL_GPIO_PULL_NO;
  LL_GPIO_Init(FPGA_CS_GPIO_Port, &GPIO_InitStruct);

  /**/
  GPIO_InitStruct.Pin = DEBUG_Pin;
  GPIO_InitStruct.Mode = LL_GPIO_MODE_OUTPUT;
  GPIO_InitStruct.Speed = LL_GPIO_SPEED_FREQ_LOW;
  GPIO_InitStruct.OutputType = LL_GPIO_OUTPUT_PUSHPULL;
  GPIO_InitStruct.Pull = LL_GPIO_PULL_NO;
  LL_GPIO_Init(DEBUG_GPIO_Port, &GPIO_InitStruct);

  /**/
  GPIO_InitStruct.Pin = LD2_Pin;
  GPIO_InitStruct.Mode = LL_GPIO_MODE_OUTPUT;
  GPIO_InitStruct.Speed = LL_GPIO_SPEED_FREQ_LOW;
  GPIO_InitStruct.OutputType = LL_GPIO_OUTPUT_PUSHPULL;
  GPIO_InitStruct.Pull = LL_GPIO_PULL_NO;
  LL_GPIO_Init(LD2_GPIO_Port, &GPIO_InitStruct);

  /**/
  LL_SYSCFG_SetEXTISource(LL_SYSCFG_EXTI_PORTC, LL_SYSCFG_EXTI_LINE8);

  /**/
  EXTI_InitStruct.Line_0_31 = LL_EXTI_LINE_8;
  EXTI_InitStruct.LineCommand = ENABLE;
  EXTI_InitStruct.Mode = LL_EXTI_MODE_IT;
  EXTI_InitStruct.Trigger = LL_EXTI_TRIGGER_FALLING;
  LL_EXTI_Init(&EXTI_InitStruct);

  /**/
  LL_GPIO_SetPinPull(FPGA_BOOT_GPIO_Port, FPGA_BOOT_Pin, LL_GPIO_PULL_UP);

  /**/
  LL_GPIO_SetPinMode(FPGA_BOOT_GPIO_Port, FPGA_BOOT_Pin, LL_GPIO_MODE_INPUT);

  /* EXTI interrupt init*/
  NVIC_SetPriority(EXTI9_5_IRQn, NVIC_EncodePriority(NVIC_GetPriorityGrouping(),0, 0));
  NVIC_EnableIRQ(EXTI9_5_IRQn);

  /* USER CODE BEGIN MX_GPIO_Init_2 */
    SPI1_CS_HI();
  /* USER CODE END MX_GPIO_Init_2 */
}

void Error_Handler(void)
{
  __disable_irq();
  while (1)
  {
  }
}
